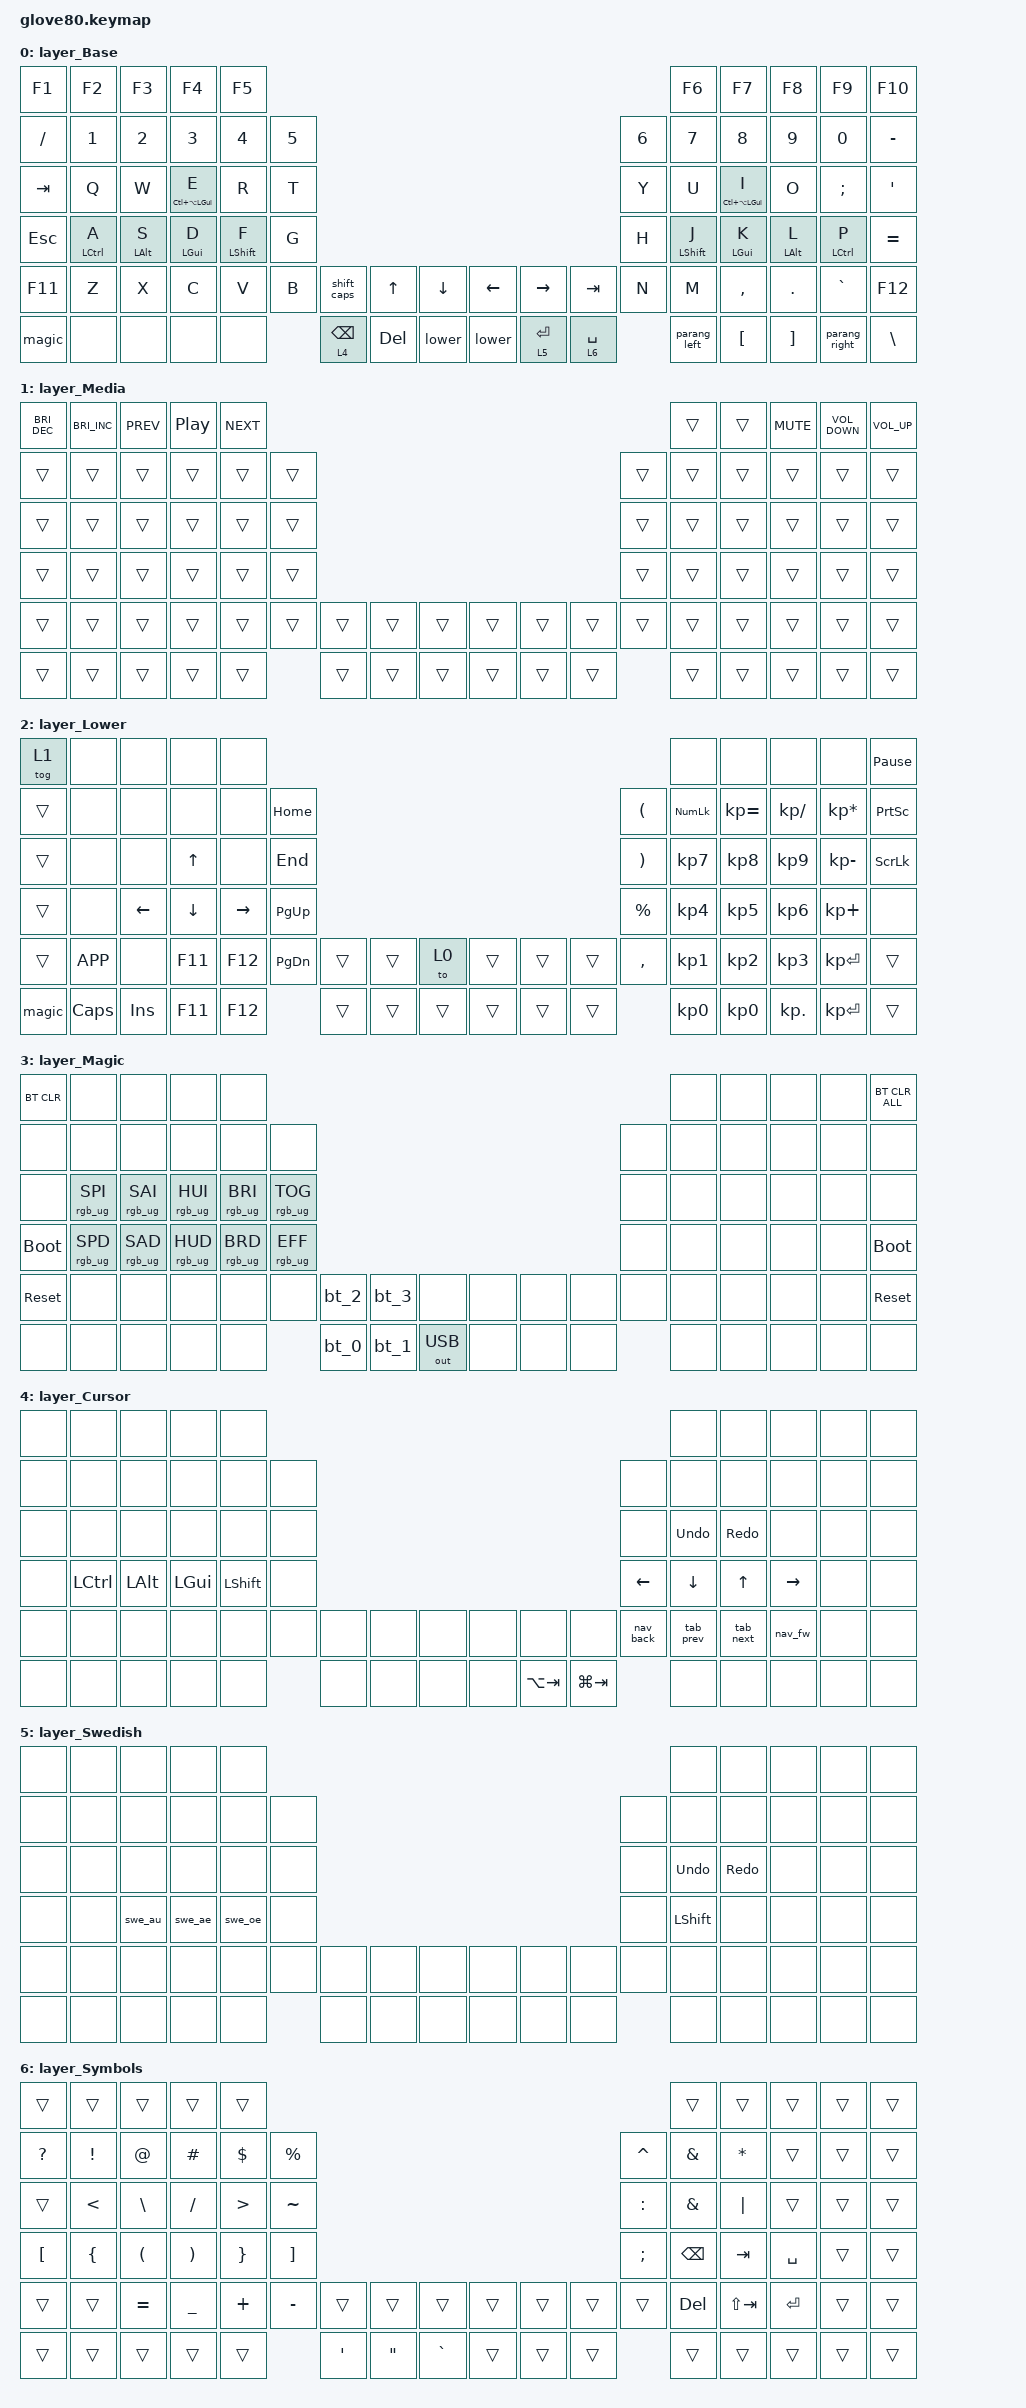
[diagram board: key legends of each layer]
/*
 * Copyright (c) 2020 The ZMK Contributors
 * Copyright (c) 2023 Innaworks Development Limited, trading as MoErgo
 *
 * SPDX-License-Identifier: MIT
 */
/* THIS FILE WAS GENERATED BY GLOVE80 LAYOUT EDITOR
 *
 * This file was generated automatically. You may or may not want to
 * edit it directly.
 */
/* Include all behavior includes needed */

#include <behaviors.dtsi>
#include <dt-bindings/zmk/bt.h>
#include <dt-bindings/zmk/keys.h>
#include <dt-bindings/zmk/keys.h>
#include <dt-bindings/zmk/outputs.h>
#include <dt-bindings/zmk/rgb.h>

// #include <dt-bindings/zmk/rgb_colors.h>
/* layer names */

#define LAYER_Base 0
#define LAYER_Lower 1
#define LAYER_Media 2
#define LAYER_Magic 3
#define LAYER_Cursor 4
#define LAYER_Swedish 5
#define LAYER_Symbols 6

/* Glove80 system behavior & macros */

/ {
    behaviors {
        // For the "layer" key, it'd nice to be able to use it as either a shift or a toggle.
        // Configure it as a tap dance, so the first tap (or hold) is a &mo and the second tap is a &to

        lower: lower {
            compatible = "zmk,behavior-tap-dance";
            label = "LAYER_TAP_DANCE";
            #binding-cells = <0>;
            tapping-term-ms = <200>;
            bindings = <&mo 3>, <&to 3>;
        };
    };
};

/ {
    macros {
        rgb_ug_status_macro: rgb_ug_status_macro {
            label = "RGB_UG_STATUS";
            compatible = "zmk,behavior-macro";
            #binding-cells = <0>;
            bindings = <&rgb_ug RGB_STATUS>;
        };
    };
};

/ {
    #ifdef BT_DISC_CMD

    behaviors {
        bt_0: bt_0 {
            compatible = "zmk,behavior-tap-dance";
            label = "BT_0";
            #binding-cells = <0>;
            tapping-term-ms = <200>;
            bindings = <&bt_select_0>, <&bt BT_DISC 0>;
        };

        bt_1: bt_1 {
            compatible = "zmk,behavior-tap-dance";
            label = "BT_1";
            #binding-cells = <0>;
            tapping-term-ms = <200>;
            bindings = <&bt_select_1>, <&bt BT_DISC 1>;
        };

        bt_2: bt_2 {
            compatible = "zmk,behavior-tap-dance";
            label = "BT_2";
            #binding-cells = <0>;
            tapping-term-ms = <200>;
            bindings = <&bt_select_2>, <&bt BT_DISC 2>;
        };

        bt_3: bt_3 {
            compatible = "zmk,behavior-tap-dance";
            label = "BT_3";
            #binding-cells = <0>;
            tapping-term-ms = <200>;
            bindings = <&bt_select_3>, <&bt BT_DISC 3>;
        };
    };

    macros {
        bt_select_0: bt_select_0 {
            label = "BT_SELECT_0";
            compatible = "zmk,behavior-macro";
            #binding-cells = <0>;
            bindings = <&out OUT_BLE &bt BT_SEL 0>;
        };

        bt_select_1: bt_select_1 {
            label = "BT_SELECT_1";
            compatible = "zmk,behavior-macro";
            #binding-cells = <0>;
            bindings = <&out OUT_BLE &bt BT_SEL 1>;
        };

        bt_select_2: bt_select_2 {
            label = "BT_SELECT_2";
            compatible = "zmk,behavior-macro";
            #binding-cells = <0>;
            bindings = <&out OUT_BLE &bt BT_SEL 2>;
        };

        bt_select_3: bt_select_3 {
            label = "BT_SELECT_3";
            compatible = "zmk,behavior-macro";
            #binding-cells = <0>;
            bindings = <&out OUT_BLE &bt BT_SEL 3>;
        };
    };

    #else

    macros {
        bt_0: bt_0 {
            label = "BT_0";
            compatible = "zmk,behavior-macro";
            #binding-cells = <0>;
            bindings = <&out OUT_BLE &bt BT_SEL 0>;
        };

        bt_1: bt_1 {
            label = "BT_1";
            compatible = "zmk,behavior-macro";
            #binding-cells = <0>;
            bindings = <&out OUT_BLE &bt BT_SEL 1>;
        };

        bt_2: bt_2 {
            label = "BT_2";
            compatible = "zmk,behavior-macro";
            #binding-cells = <0>;
            bindings = <&out OUT_BLE &bt BT_SEL 2>;
        };

        bt_3: bt_3 {
            label = "BT_3";
            compatible = "zmk,behavior-macro";
            #binding-cells = <0>;
            bindings = <&out OUT_BLE &bt BT_SEL 3>;
        };
    };

    #endif
};

#define GREEN 0x00ff00
#define RED 0xff0000
#define BLUE 0x0000ff
#define YELLOW 0xffff00
#define TEAL 0x008080
#define ORANGE 0xffa500
#define GOLD 0xffd700
#define PURPLE 0x800080
#define PINK 0xffc0cb
#define BROWN 0x8b4513
#define GRAY 0x808080
#define BLACK 0x000000
#define LIGHT_GREEN 0x90ee90
#define LIGHT_BLUE 0x9090ee
#define LIGHT_RED 0xffb6c1
#define WHITE 0xffffff
#define ______ 0x000000

/* #define for key positions */

#define POS_LH_T1 52
#define POS_LH_T2 53
#define POS_LH_T3 54
#define POS_LH_T4 69
#define POS_LH_T5 70
#define POS_LH_T6 71
#define POS_LH_C1R2 15
#define POS_LH_C1R3 27
#define POS_LH_C1R4 39
#define POS_LH_C1R5 51
#define POS_LH_C2R1 4
#define POS_LH_C2R2 14
#define POS_LH_C2R3 26
#define POS_LH_C2R4 38
#define POS_LH_C2R5 50
#define POS_LH_C2R6 68
#define POS_LH_C3R1 3
#define POS_LH_C3R2 13
#define POS_LH_C3R3 25
#define POS_LH_C3R4 37
#define POS_LH_C3R5 49
#define POS_LH_C3R6 67
#define POS_LH_C4R1 2
#define POS_LH_C4R2 12
#define POS_LH_C4R3 24
#define POS_LH_C4R4 36
#define POS_LH_C4R5 48
#define POS_LH_C4R6 66
#define POS_LH_C5R1 1
#define POS_LH_C5R2 11
#define POS_LH_C5R3 23
#define POS_LH_C5R4 35
#define POS_LH_C5R5 47
#define POS_LH_C5R6 65
#define POS_LH_C6R1 0
#define POS_LH_C6R2 10
#define POS_LH_C6R3 22
#define POS_LH_C6R4 34
#define POS_LH_C6R5 46
#define POS_LH_C6R6 64
#define POS_RH_T1 57
#define POS_RH_T2 56
#define POS_RH_T3 55
#define POS_RH_T4 74
#define POS_RH_T5 73
#define POS_RH_T6 72
#define POS_RH_C1R2 16
#define POS_RH_C1R3 28
#define POS_RH_C1R4 40
#define POS_RH_C1R5 58
#define POS_RH_C2R1 5
#define POS_RH_C2R2 17
#define POS_RH_C2R3 29
#define POS_RH_C2R4 41
#define POS_RH_C2R5 59
#define POS_RH_C2R6 75
#define POS_RH_C3R1 6
#define POS_RH_C3R2 18
#define POS_RH_C3R3 30
#define POS_RH_C3R4 42
#define POS_RH_C3R5 60
#define POS_RH_C3R6 76
#define POS_RH_C4R1 7
#define POS_RH_C4R2 19
#define POS_RH_C4R3 31
#define POS_RH_C4R4 43
#define POS_RH_C4R5 61
#define POS_RH_C4R6 77
#define POS_RH_C5R1 8
#define POS_RH_C5R2 20
#define POS_RH_C5R3 32
#define POS_RH_C5R4 44
#define POS_RH_C5R5 62
#define POS_RH_C5R6 78
#define POS_RH_C6R1 9
#define POS_RH_C6R2 21
#define POS_RH_C6R3 33
#define POS_RH_C6R4 45
#define POS_RH_C6R5 63
#define POS_RH_C6R6 79
#define HYPER LC(LA(LEFT_GUI))

/ {
    /* Empty underglow layer definition (for copy-paste)
        mylayer {
            bindings = <
                ______ ______ ______ ______ ______                                                          ______ ______ ______ ______ ______
                ______ ______ ______ ______ ______ ______                                            ______ ______ ______ ______ ______ ______
                ______ ______ ______ ______ ______ ______                                            ______ ______ ______ ______ ______ ______
                ______ ______ ______ ______ ______ ______                                            ______ ______ ______ ______ ______ ______
                ______ ______ ______ ______ ______ ______ ______ ______ ______  ______ ______ ______ ______ ______ ______ ______ ______ ______
                ______ ______ ______ ______ ______        ______ ______ ______  ______ ______ ______        ______ ______ ______ ______ ______
                >;
            layer-id = <LAYER_Name>;
        };
*/

    underglow-layer {
        compatible = "zmk,underglow-layer";

        cursor {
            bindings = <
                ______ ______ ______ ______ ______                                                          ______ ______ ______ ______ ______
                ______ ______ ______ ______ ______ ______                                            ______ ______ ______ ______ ______ ______
                ______ ______ ______ ______ ______ ______                                            ______ ______    RED   TEAL ______ ______
                ______  GREEN   BLUE   GOLD    RED ______                                              PINK   PINK   PINK   PINK ______ ______
                ______ ______ ______ ______ ______ ______ ______ ______ ______  ______ ______ ______ ______ ______ ______ ______ ______ ______
                ______ ______ ______ ______ ______        ______ ______ ______  ______ ______ ______        ______ ______ ______ ______ ______
            >;

            layer-id = <LAYER_Cursor>;
        };

        media {
            bindings = <
                  BLUE YELLOW   PINK   PINK   PINK                                                          ______ ______   TEAL   TEAL   TEAL
                ______ ______ ______ ______ ______ ______                                            ______ ______ ______ ______ ______ ______
                ______ ______ ______ ______ ______ ______                                            ______ ______ ______ ______ ______ ______
                ______ ______ ______ ______ ______ ______                                            ______ ______ ______ ______ ______ ______
                ______ ______ ______ ______ ______ ______ ______ ______ ______  ______ ______ ______ ______ ______ ______ ______ ______ ______
                ______ ______ ______ ______ ______        ______ ______ ______  ______ ______ ______        ______ ______ ______ ______ ______
            >;

            layer-id = <LAYER_Media>;
        };

        swedish {
            bindings = <
                ______ ______ ______ ______ ______                                                          ______ ______ ______ ______ ______
                ______ ______ ______ ______ ______ ______                                            ______ ______ ______ ______ ______ ______
                ______ ______ ______ ______ ______ ______                                            ______ ______ ______ ______ ______ ______
                ______ ______    RED   BLUE  GREEN ______                                            ______ ______ ______ ______ ______ ______
                ______ ______ ______ ______ ______ ______ ______ ______ ______  ______ ______ ______ ______ ______ ______ ______ ______ ______
                ______ ______ ______ ______ ______        ______ ______ ______  ______ ______ ______        ______ ______ ______ ______ ______
            >;

            layer-id = <LAYER_Swedish>;
        };

        symbols {
            bindings = <
                ______ ______ ______ ______ ______                                                          ______ ______ ______ ______ ______
                 BROWN  BROWN  BROWN  BROWN  BROWN  BROWN                                             BROWN  BROWN  BROWN  BROWN  BROWN  BROWN
                ______  GREEN YELLOW YELLOW  GREEN PURPLE                                              BLUE   PINK   PINK ______ ______ ______
                 GREEN  GREEN  GREEN  GREEN  GREEN  GREEN                                              BLUE    RED    RED    RED ______ ______
                ______ ______   TEAL   TEAL   TEAL   TEAL ______ ______ ______  ______ ______ ______ ______    RED    RED    RED ______ ______
                ______ ______ ______ ______ ______           RED    RED    RED  ______ ______ ______        ______ ______ ______ ______ ______
            >;

            layer-id = <LAYER_Symbols>;
        };
    };
};

/ {
    behaviors {
        // For the "layer" key, it'd nice to be able to use it as either a shift or a toggle.
        // Configure it as a tap dance, so the first tap (or hold) is a &mo and the second tap is a &to

        magic: magic {
            compatible = "zmk,behavior-tap-dance";
            label = "MAGIC_HOLD_TAP";
            #binding-cells = <0>;
            bindings = <&mo 4>, <&rgb_ug_status_macro>;
        };

        shift_caps: shift_caps {
            compatible = "zmk,behavior-tap-dance";
            label = "SHIFT_CAPS";
            #binding-cells = <0>;
            bindings = <&kp LSHIFT>, <&caps_word>;
        };

        parang_left: parang_left {
            compatible = "zmk,behavior-mod-morph";
            label = "PARANG_LEFT";
            bindings = <&kp LS(N9)>, <&kp LS(COMMA)>;

            #binding-cells = <0>;
            mods = <(MOD_LSFT|MOD_RSFT)>;
        };

        parang_right: parang_right {
            compatible = "zmk,behavior-mod-morph";
            label = "PARANG_RIGHT";
            bindings = <&kp LS(N0)>, <&kp LS(PERIOD)>;

            #binding-cells = <0>;
            mods = <(MOD_LSFT)>;
        };

        shift_shiftlock: shift_shiftlock {
            compatible = "zmk,behavior-tap-dance";
            label = "SHIFT_SHIFTLOCK";
            #binding-cells = <0>;
            bindings = <&kp LSHIFT>, <&kt LEFT_SHIFT>;
        };

        hr_left: hr_left {
            compatible = "zmk,behavior-hold-tap";
            label = "HR_LEFT";
            bindings = <&kp>, <&kp>;

            #binding-cells = <2>;
            flavor = "tap-preferred";
            tapping-term-ms = <240>;
            quick-tap-ms = <300>;
            hold-trigger-key-positions = <55 55 56 72 73 74 78 79 5 6 7 8 9 16 17 18 19 20 21 28 29 30 31 32 33 40 41 42 43 44 45 58 59 60 61 62 63 74 75 76 77 78 79 53 54 69 70 52 53 54 70 71>;
            hold-trigger-on-release;
            require-prior-idle-ms = <160>;
        };

        hr_right: hr_right {
            compatible = "zmk,behavior-hold-tap";
            label = "HR_RIGHT";
            bindings = <&kp>, <&kp>;

            #binding-cells = <2>;
            flavor = "tap-preferred";
            tapping-term-ms = <240>;
            quick-tap-ms = <300>;
            hold-trigger-key-positions = <0 1 10 11 12 13 14 22 23 24 25 26 34 35 36 37 38 46 47 48 49 50 64 65 66 67 68 0 1 2 3 4 10 11 12 13 14 15 22 23 24 25 26 27 34 35 36 37 38 39 46 47 48 49 50 51 52 53 54 55 56 64 65 66 67 68 69 70 71 72 55 56 72 73 74 57>;
            require-prior-idle-ms = <160>;
            hold-trigger-on-release;
        };

        layer_hold: layer_hold {
            compatible = "zmk,behavior-hold-tap";
            label = "LAYER_HOLD";
            bindings = <&mo>, <&kp>;

            #binding-cells = <2>;
            tapping-term-ms = <200>;
            quick-tap-ms = <300>;
            flavor = "balanced";
        };

        swe_au: swe_au {
            compatible = "zmk,behavior-mod-morph";
            label = "SWE_AU";
            bindings = <&swe_au_low>, <&swe_au_upper>;

            #binding-cells = <0>;
            mods = <(MOD_LSFT|MOD_RSFT)>;
        };

        swe_ae: swe_ae {
            compatible = "zmk,behavior-mod-morph";
            label = "SWE_AE";
            bindings = <&swe_ae_low>, <&swe_ae_upper>;

            #binding-cells = <0>;
            mods = <(MOD_LSFT|MOD_RSFT)>;
        };

        swe_oe: swe_oe {
            compatible = "zmk,behavior-mod-morph";
            label = "SWE_OE";
            bindings = <&swe_oe_low>, <&swe_oe_upper>;

            #binding-cells = <0>;
            mods = <(MOD_LSFT|MOD_RSFT)>;
        };
    };

    macros {
        Undo: Undo {
            compatible = "zmk,behavior-macro";
            #binding-cells = <0>;
            bindings = <&kp LG(Z)>;
            label = "UNDO";
        };

        Redo: Redo {
            compatible = "zmk,behavior-macro";
            #binding-cells = <0>;
            bindings = <&kp LS(LG(Z))>;
            label = "REDO";
        };

        swe_au_low: swe_au {
            compatible = "zmk,behavior-macro";
            #binding-cells = <0>;
            bindings = <&kp LA(A)>;
            label = "SWE_AU";
        };

        swe_ae_low: swe_ae {
            compatible = "zmk,behavior-macro";
            #binding-cells = <0>;
            bindings = <&kp LA(U) &kp A>;
            label = "SWE_AE";
        };

        swe_oe_low: swe_oe {
            compatible = "zmk,behavior-macro";
            #binding-cells = <0>;
            bindings = <&kp LA(U) &kp O>;
            label = "SWE_OE";
        };

        swe_au_upper: swe_au_upper {
            compatible = "zmk,behavior-macro";
            #binding-cells = <0>;
            bindings = <&kp LA(LS(A))>;
            label = "SWE_AU_UPPER";
        };

        swe_ae_upper: swe_ae_upper {
            compatible = "zmk,behavior-macro";
            #binding-cells = <0>;
            bindings = <&kp LA(U) &kp LS(A)>;
            label = "SWE_AE_UPPER";
        };

        swe_oe_upper: swe_oe_upper {
            compatible = "zmk,behavior-macro";
            #binding-cells = <0>;
            bindings = <&kp LA(U) &kp LS(O)>;
            label = "SWE_OE_UPPER";
        };

        tab_prev: tab_prev {
            compatible = "zmk,behavior-macro";
            #binding-cells = <0>;
            bindings = <&kp LA(LG(LEFT))>;
            label = "TAB_PREV";
        };

        tab_next: tab_next {
            compatible = "zmk,behavior-macro";
            #binding-cells = <0>;
            bindings = <&kp LA(LG(RIGHT))>;
            label = "TAB_NEXT";
        };

        nav_back: nav_back {
            compatible = "zmk,behavior-macro";
            #binding-cells = <0>;
            bindings = <&kp LG(LEFT)>;
            label = "NAV_BACK";
        };

        nav_fw: nav_fw {
            compatible = "zmk,behavior-macro";
            #binding-cells = <0>;
            bindings = <&kp LG(RIGHT)>;
            label = "NAV_FW";
        };
    };

    keymap {
        compatible = "zmk,keymap";

        layer_Base {
            bindings = <
&kp F1     &kp F2            &kp F3               &kp F4               &kp F5                                                                                                                                      &kp F6                  &kp F7                &kp F8                &kp F9                    &kp F10
&kp SLASH  &kp N1            &kp N2               &kp N3               &kp N4                 &kp N5                                                                                                       &kp N6  &kp N7                  &kp N8                &kp N9                &kp N0                    &kp MINUS
&kp TAB    &kp Q             &kp W                &hr_left HYPER E     &kp R                  &kp T                                                                                                        &kp Y   &kp U                   &hr_right HYPER I     &kp O                 &kp SEMI                  &kp SQT
&kp ESC    &hr_left LCTRL A  &hr_left LEFT_ALT S  &hr_left LEFT_GUI D  &hr_left LEFT_SHIFT F  &kp G                                                                                                        &kp H   &hr_right LEFT_SHIFT J  &hr_right LEFT_GUI K  &hr_right LEFT_ALT L  &hr_right LEFT_CONTROL P  &kp EQUAL
&kp F11    &kp Z             &kp X                &kp C                &kp V                  &kp B   &shift_caps              &kp UP_ARROW  &kp DOWN  &kp LEFT  &kp RIGHT            &kp TAB              &kp N   &kp M                   &kp COMMA             &kp DOT               &kp GRAVE                 &kp F12
&magic     &none             &none                &none                &none                          &layer_hold 4 BACKSPACE  &kp DEL       &lower    &lower    &layer_hold 5 ENTER  &layer_hold 6 SPACE          &parang_left            &kp LEFT_BRACKET      &kp RIGHT_BRACKET     &parang_right             &kp BACKSLASH
            >;
        };

        layer_Media {
            bindings = <
&kp C_BRIGHTNESS_DEC  &kp C_BRIGHTNESS_INC  &kp C_PREV  &kp C_PP  &kp C_NEXT                                                                  &trans  &trans  &kp C_MUTE  &kp C_VOLUME_DOWN  &kp C_VOLUME_UP
&trans                &trans                &trans      &trans    &trans      &trans                                                  &trans  &trans  &trans  &trans      &trans             &trans
&trans                &trans                &trans      &trans    &trans      &trans                                                  &trans  &trans  &trans  &trans      &trans             &trans
&trans                &trans                &trans      &trans    &trans      &trans                                                  &trans  &trans  &trans  &trans      &trans             &trans
&trans                &trans                &trans      &trans    &trans      &trans  &trans  &trans  &trans  &trans  &trans  &trans  &trans  &trans  &trans  &trans      &trans             &trans
&trans                &trans                &trans      &trans    &trans              &trans  &trans  &trans  &trans  &trans  &trans          &trans  &trans  &trans      &trans             &trans
            >;
        };

        layer_Lower {
            bindings = <
&tog 1  &none      &none           &none           &none                                                                                              &none       &none         &none         &none            &kp PAUSE_BREAK
&trans  &none      &none           &none           &none            &kp HOME                                                   &kp LEFT_PARENTHESIS   &kp KP_NUM  &kp KP_EQUAL  &kp KP_SLASH  &kp KP_MULTIPLY  &kp PRINTSCREEN
&trans  &none      &none           &kp UP_ARROW    &none            &kp END                                                    &kp RIGHT_PARENTHESIS  &kp KP_N7   &kp KP_N8     &kp KP_N9     &kp KP_MINUS     &kp SCROLLLOCK
&trans  &none      &kp LEFT_ARROW  &kp DOWN_ARROW  &kp RIGHT_ARROW  &kp PG_UP                                                  &kp PERCENT            &kp KP_N4   &kp KP_N5     &kp KP_N6     &kp KP_PLUS      &none
&trans  &kp K_APP  &none           &kp F11         &kp F12          &kp PG_DN  &trans  &trans  &to 0   &trans  &trans  &trans  &kp COMMA              &kp KP_N1   &kp KP_N2     &kp KP_N3     &kp KP_ENTER     &trans
&magic  &kp CAPS   &kp INS         &kp F11         &kp F12                     &trans  &trans  &trans  &trans  &trans  &trans                         &kp KP_N0   &kp KP_N0     &kp KP_DOT    &kp KP_ENTER     &trans
            >;
        };

        layer_Magic {
            bindings = <
&bt BT_CLR   &none            &none            &none            &none                                                                                     &none  &none  &none  &none  &bt BT_CLR_ALL
&none        &none            &none            &none            &none            &none                                                             &none  &none  &none  &none  &none  &none
&none        &rgb_ug RGB_SPI  &rgb_ug RGB_SAI  &rgb_ug RGB_HUI  &rgb_ug RGB_BRI  &rgb_ug RGB_TOG                                                   &none  &none  &none  &none  &none  &none
&bootloader  &rgb_ug RGB_SPD  &rgb_ug RGB_SAD  &rgb_ug RGB_HUD  &rgb_ug RGB_BRD  &rgb_ug RGB_EFF                                                   &none  &none  &none  &none  &none  &bootloader
&sys_reset   &none            &none            &none            &none            &none            &bt_2  &bt_3  &none         &none  &none  &none  &none  &none  &none  &none  &none  &sys_reset
&none        &none            &none            &none            &none                             &bt_0  &bt_1  &out OUT_USB  &none  &none  &none         &none  &none  &none  &none  &none
            >;
        };

        layer_Cursor {
            bindings = <
&none  &none      &none     &none     &none                                                                              &none      &none      &none      &none  &none
&none  &none      &none     &none     &none      &none                                                        &none      &none      &none      &none      &none  &none
&none  &none      &none     &none     &none      &none                                                        &none      &Undo      &Redo      &none      &none  &none
&none  &kp LCTRL  &kp LALT  &kp LGUI  &kp LSHFT  &none                                                        &kp LEFT   &kp DOWN   &kp UP     &kp RIGHT  &none  &none
&none  &none      &none     &none     &none      &none  &none  &none  &none  &none  &none        &none        &nav_back  &tab_prev  &tab_next  &nav_fw    &none  &none
&none  &none      &none     &none     &none             &none  &none  &none  &none  &kp LA(TAB)  &kp LG(TAB)             &none      &none      &none      &none  &none
            >;
        };

        layer_Swedish {
            bindings = <
&none  &none  &none    &none    &none                                                            &none           &none  &none  &none  &none
&none  &none  &none    &none    &none    &none                                            &none  &none           &none  &none  &none  &none
&none  &none  &none    &none    &none    &none                                            &none  &Undo           &Redo  &none  &none  &none
&none  &none  &swe_au  &swe_ae  &swe_oe  &none                                            &none  &kp LEFT_SHIFT  &none  &none  &none  &none
&none  &none  &none    &none    &none    &none  &none  &none  &none  &none  &none  &none  &none  &none           &none  &none  &none  &none
&none  &none  &none    &none    &none           &none  &none  &none  &none  &none  &none         &none           &none  &none  &none  &none
            >;
        };

        layer_Symbols {
            bindings = <
&trans            &trans          &trans                &trans                 &trans                                                                                                        &trans         &trans        &trans     &trans  &trans
&kp QUESTION      &kp EXCL        &kp AT                &kp POUND              &kp DOLLAR       &kp PERCENT                                                                       &kp CARET  &kp AMPS       &kp ASTERISK  &trans     &trans  &trans
&trans            &kp LT          &kp BACKSLASH         &kp SLASH              &kp GT           &kp TILDE                                                                         &kp COLON  &kp AMPS       &kp PIPE      &trans     &trans  &trans
&kp LEFT_BRACKET  &kp LEFT_BRACE  &kp LEFT_PARENTHESIS  &kp RIGHT_PARENTHESIS  &kp RIGHT_BRACE  &kp RIGHT_BRACKET                                                                 &kp SEMI   &kp BACKSPACE  &kp TAB       &kp SPACE  &trans  &trans
&trans            &trans          &kp EQUAL             &kp UNDER              &kp PLUS         &kp MINUS          &trans   &trans             &trans     &trans  &trans  &trans  &trans     &kp DEL        &kp LS(TAB)   &kp ENTER  &trans  &trans
&trans            &trans          &trans                &trans                 &trans                              &kp SQT  &kp DOUBLE_QUOTES  &kp GRAVE  &trans  &trans  &trans             &trans         &trans        &trans     &trans  &trans
            >;
        };
    };
};
